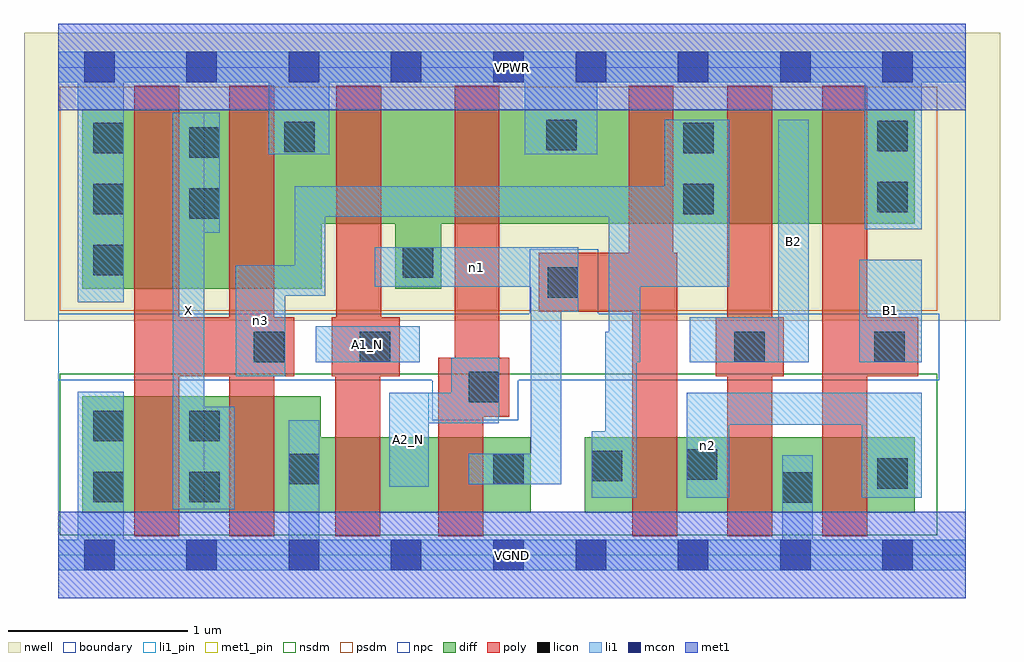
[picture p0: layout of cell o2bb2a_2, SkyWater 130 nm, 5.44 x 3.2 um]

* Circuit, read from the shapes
.subckt o2bb2a_2 A1_N A2_N B1 B2 VGND VPWR X n1 n2 n3
XM1 X n3 VGND VSUBS sky130_fd_pr__nfet_01v8 w=0.65 l=0.25 m=2
XM2 n4 A1_N VGND VSUBS sky130_fd_pr__nfet_01v8 w=0.42 l=0.25
XM3 n1 A2_N n4 VSUBS sky130_fd_pr__nfet_01v8 w=0.42 l=0.25
XM4 n2 n1 n3 VSUBS sky130_fd_pr__nfet_01v8 w=0.42 l=0.25
XM5 VGND B2 n2 VSUBS sky130_fd_pr__nfet_01v8 w=0.42 l=0.25
XM6 n2 B1 VGND VSUBS sky130_fd_pr__nfet_01v8 w=0.42 l=0.25
XM7 X n3 VPWR n5 sky130_fd_pr__pfet_01v8 w=1 l=0.25 m=2
XM8 n1 A1_N VPWR n5 sky130_fd_pr__pfet_01v8 w=0.64 l=0.25
XM9 VPWR A2_N n1 n5 sky130_fd_pr__pfet_01v8 w=0.64 l=0.25
XM10 n3 n1 VPWR n5 sky130_fd_pr__pfet_01v8 w=0.64 l=0.25
XM11 n6 B2 n3 n5 sky130_fd_pr__pfet_01v8 w=0.64 l=0.25
XM12 VPWR B1 n6 n5 sky130_fd_pr__pfet_01v8 w=0.64 l=0.25
.ends

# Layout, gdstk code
import gdstk
lib = gdstk.Library(unit=1e-6, precision=1e-09)
def R(c, l, rs):  # rectangles x0, y0, x1, y1
    for r in rs: c.add(gdstk.rectangle(r[:2], r[2:], *l))
def A(c, l, x, y, w, h, nx, ny, dx, dy):  # array of equal rectangles
    R(c, l, [(x+i*dx, y+j*dy, x+i*dx+w, y+j*dy+h) for i in range(nx) for j in range(ny)])
nwell = (64, 20)
diff = (65, 20)
poly = (66, 20)
licon = (66, 44)
li1_pin = (67, 16)
li1 = (67, 20)
mcon = (67, 44)
met1_pin = (68, 16)
met1 = (68, 20)
nsdm = (93, 44)
psdm = (94, 20)
npc = (95, 20)
boundary = (235, 4)

o2bb2a_2 = lib.new_cell('o2bb2a_2')
R(o2bb2a_2, nwell, [(-0.19,1.305,5.25,2.91), (0,1.305,5.06,2.91)])
R(o2bb2a_2, diff, [(0.135,0.235,2.635,0.655), (0.135,0.235,1.465,0.885), (2.935,0.235,4.775,0.655), (0.135,1.485,1.47,2.485), (1.88,1.485,2.135,2.485), (0.135,1.845,4.775,2.485)])
R(o2bb2a_2, poly, [(0.425,0.105,0.675,2.615), (0.955,0.105,1.205,2.615), (1.545,0.105,1.795,1.325), (2.12,0.105,2.37,1.1), (3.2,0.105,3.43,2.615), (3.2,0.105,3.45,1.685), (3.73,0.105,3.98,2.615), (4.26,0.105,4.51,2.615), (2.12,0.77,2.515,1.1), (0.425,0.995,1.315,1.325), (1.525,0.995,1.905,1.325), (1.55,0.995,1.8,2.615), (3.665,0.995,4.045,1.325), (4.26,0.995,4.795,1.325), (2.21,1.1,2.46,2.615), (2.68,1.355,3.45,1.685), (3.18,1.355,3.43,2.615)])
A(o2bb2a_2, licon, 0.195, 1.56, 0.17, 0.17, 1, 3, 0, 0.34)
R(o2bb2a_2, licon, [(4.035,0.29,4.205,0.46), (0.195,0.295,0.365,0.465), (0.73,0.295,0.9,0.465), (4.565,0.37,4.735,0.54), (1.285,0.395,1.455,0.565), (2.425,0.395,2.595,0.565), (2.975,0.41,3.145,0.58), (3.505,0.42,3.675,0.59), (0.195,0.635,0.365,0.805), (0.73,0.635,0.9,0.805), (2.29,0.85,2.46,1.02), (1.09,1.075,1.26,1.245), (1.68,1.075,1.85,1.245), (3.77,1.075,3.94,1.245), (4.55,1.075,4.72,1.245), (2.73,1.435,2.9,1.605), (1.92,1.545,2.09,1.715), (0.73,1.875,0.9,2.045), (3.485,1.9,3.655,2.07), (4.565,1.91,4.735,2.08), (0.73,2.215,0.9,2.385), (3.485,2.24,3.655,2.41), (1.26,2.245,1.43,2.415), (4.565,2.25,4.735,2.42), (2.72,2.255,2.89,2.425)])
R(o2bb2a_2, li1_pin, [(0.64,0.255,0.815,2.465), (1.845,0.38,2.065,0.905), (1.435,1.075,2.015,1.275), (4.015,1.075,4.185,2.425), (4.465,1.075,4.815,1.645)])
R(o2bb2a_2, li1, [(0,-0.085,5.06,0.085), (0.11,-0.085,0.365,0.91), (1.285,-0.085,1.455,0.75), (4.035,-0.085,4.205,0.555), (0.64,0.255,0.815,2.465), (0.64,0.255,0.985,0.825), (2.975,0.32,3.225,0.69), (3.05,0.32,3.225,1.245), (3.505,0.32,3.74,0.905), (4.48,0.32,4.815,0.905), (1.845,0.38,2.065,0.905), (2.29,0.395,2.805,0.565), (2.635,0.395,2.805,1.715), (3.505,0.725,4.815,0.905), (2.065,0.735,2.455,0.905), (2.19,0.77,2.46,1.1), (0.99,0.995,1.265,1.615), (1.435,1.075,2.015,1.275), (3.07,1.075,3.245,2.055), (3.52,1.075,4.185,1.325), (4.015,1.075,4.185,2.425), (4.465,1.075,4.815,1.645), (2.635,1.355,2.9,1.715), (0.11,1.41,0.365,2.805), (0.99,1.445,1.49,1.615), (1.32,1.445,1.49,2.055), (1.765,1.495,2.9,1.715), (3.07,1.495,3.74,2.055), (3.38,1.495,3.74,2.425), (0.64,1.795,0.9,2.465), (4.495,1.815,4.815,2.805), (1.32,1.885,3.74,2.055), (1.175,2.235,1.51,2.805), (2.6,2.235,3.005,2.805), (0,2.635,5.06,2.805)])
A(o2bb2a_2, mcon, 0.145, -0.085, 0.17, 0.17, 5, 2, 0.57, 2.72)
A(o2bb2a_2, mcon, 2.885, -0.085, 0.17, 0.17, 4, 2, 0.57, 2.72)
R(o2bb2a_2, met1_pin, [(0,-0.24,5.06,0.24), (0,2.48,5.06,2.96)])
R(o2bb2a_2, met1, [(0,-0.24,5.06,0.24), (0,2.48,5.06,2.96)])
R(o2bb2a_2, nsdm, [(0.01,0.11,4.9,1.01)])
R(o2bb2a_2, psdm, [(0.01,1.36,4.9,2.61)])
R(o2bb2a_2, npc, [(2.085,0.75,2.565,1.345), (0,0.975,4.91,1.345), (2.63,0.975,3.01,1.705)])
R(o2bb2a_2, boundary, [(0,0,5.06,2.72)])
o2bb2a_2.add(gdstk.Label('A1_N', (1.725,1.175), layer=67, texttype=5))
o2bb2a_2.add(gdstk.Label('A2_N', (1.955,0.642), layer=67, texttype=5))
o2bb2a_2.add(gdstk.Label('B1', (4.64,1.36), layer=67, texttype=5))
o2bb2a_2.add(gdstk.Label('B2', (4.1,1.75), layer=67, texttype=5))
o2bb2a_2.add(gdstk.Label('X', (0.727,1.36), layer=67, texttype=5))
o2bb2a_2.add(gdstk.Label('n2', (3.622,0.612), layer=67, texttype=5))
o2bb2a_2.add(gdstk.Label('n1', (2.332,1.605), layer=67, texttype=5))
o2bb2a_2.add(gdstk.Label('n3', (1.127,1.305), layer=67, texttype=5))
o2bb2a_2.add(gdstk.Label('VPWR', (2.53,2.72), layer=68, texttype=5))
o2bb2a_2.add(gdstk.Label('VGND', (2.53,0), layer=68, texttype=5))
o2bb2a_2.add(gdstk.Label('A1_N', (1.725,1.175), layer=67, texttype=16))
o2bb2a_2.add(gdstk.Label('A2_N', (1.955,0.642), layer=67, texttype=16))
o2bb2a_2.add(gdstk.Label('B1', (4.64,1.36), layer=67, texttype=16))
o2bb2a_2.add(gdstk.Label('B2', (4.1,1.75), layer=67, texttype=16))
o2bb2a_2.add(gdstk.Label('X', (0.727,1.36), layer=67, texttype=16))
o2bb2a_2.add(gdstk.Label('VPWR', (2.53,2.72), layer=68, texttype=16))
o2bb2a_2.add(gdstk.Label('VGND', (2.53,0), layer=68, texttype=16))

lib.write_gds('o2bb2a_2.gds')
